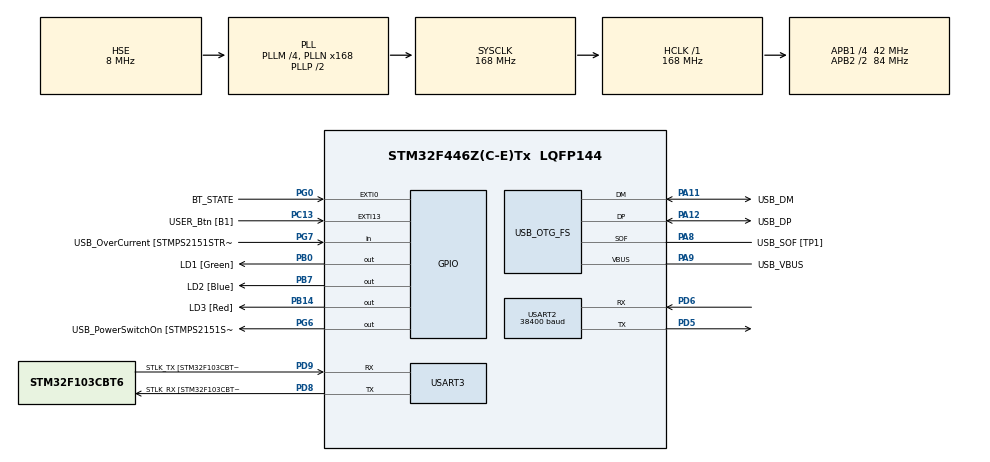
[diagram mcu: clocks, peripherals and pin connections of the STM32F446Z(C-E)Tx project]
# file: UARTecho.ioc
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Dma.Request0=USART3_TX
Dma.Request1=USART2_RX
Dma.Request2=USART2_TX
Dma.USART2_RX.1.Direction=DMA_PERIPH_TO_MEMORY
Dma.USART2_RX.1.FIFOMode=DMA_FIFOMODE_DISABLE
Dma.USART2_RX.1.Instance=DMA1_Stream5
Dma.USART2_RX.1.MemDataAlignment=DMA_MDATAALIGN_BYTE
Dma.USART2_RX.1.MemInc=DMA_MINC_ENABLE
Dma.USART2_RX.1.Mode=DMA_NORMAL
Dma.USART2_RX.1.PeriphDataAlignment=DMA_PDATAALIGN_BYTE
Dma.USART2_RX.1.PeriphInc=DMA_PINC_DISABLE
Dma.USART2_RX.1.Priority=DMA_PRIORITY_VERY_HIGH
Dma.USART2_TX.2.Direction=DMA_MEMORY_TO_PERIPH
Dma.USART2_TX.2.FIFOMode=DMA_FIFOMODE_DISABLE
Dma.USART2_TX.2.Instance=DMA1_Stream6
Dma.USART2_TX.2.MemDataAlignment=DMA_MDATAALIGN_BYTE
Dma.USART2_TX.2.MemInc=DMA_MINC_ENABLE
Dma.USART2_TX.2.Mode=DMA_NORMAL
Dma.USART2_TX.2.PeriphDataAlignment=DMA_PDATAALIGN_BYTE
Dma.USART2_TX.2.PeriphInc=DMA_PINC_DISABLE
Dma.USART2_TX.2.Priority=DMA_PRIORITY_HIGH
Dma.USART3_TX.0.Direction=DMA_MEMORY_TO_PERIPH
Dma.USART3_TX.0.FIFOMode=DMA_FIFOMODE_DISABLE
Dma.USART3_TX.0.Instance=DMA1_Stream3
Dma.USART3_TX.0.MemDataAlignment=DMA_MDATAALIGN_BYTE
Dma.USART3_TX.0.MemInc=DMA_MINC_ENABLE
Dma.USART3_TX.0.Mode=DMA_NORMAL
Dma.USART3_TX.0.PeriphDataAlignment=DMA_PDATAALIGN_BYTE
Dma.USART3_TX.0.PeriphInc=DMA_PINC_DISABLE
Dma.USART3_TX.0.Priority=DMA_PRIORITY_VERY_HIGH
Mcu.Family=STM32F4
Mcu.Name=STM32F446Z(C-E)Tx
Mcu.Package=LQFP144
NVIC.DMA1_Stream3_IRQn=true\:0\:0\:false\:false\:true\:false\:true\:true
NVIC.DMA1_Stream5_IRQn=true\:0\:0\:false\:false\:true\:false\:true\:true
NVIC.DMA1_Stream6_IRQn=true\:0\:0\:false\:false\:true\:false\:true\:true
NVIC.EXTI0_IRQn=true\:0\:0\:false\:false\:true\:true\:true\:true
NVIC.PriorityGroup=NVIC_PRIORITYGROUP_4
NVIC.USART2_IRQn=true\:0\:0\:false\:false\:true\:true\:true\:true
NVIC.USART3_IRQn=true\:0\:0\:false\:false\:true\:true\:true\:true
PA10.GPIO_Label=USB_ID
PA10.Signal=USB_OTG_FS_ID
PA11.GPIO_Label=USB_DM
PA11.Mode=Device_Only
PA11.Signal=USB_OTG_FS_DM
PA12.GPIO_Label=USB_DP
PA12.Mode=Device_Only
PA12.Signal=USB_OTG_FS_DP
PA13.GPIO_Label=TMS
PA13.Mode=Serial_Wire
PA13.Signal=SYS_JTMS-SWDIO
PA14.GPIO_Label=TCK
PA14.Mode=Serial_Wire
PA14.Signal=SYS_JTCK-SWCLK
PA8.GPIO_Label=USB_SOF [TP1]
PA8.Mode=Activate_SOF_FS
PA8.Signal=USB_OTG_FS_SOF
PA9.GPIO_Label=USB_VBUS
PA9.Mode=Activate_VBUS
PA9.Signal=USB_OTG_FS_VBUS
PB0.GPIO_Label=LD1 [Green]
PB0.Signal=GPIO_Output
PB14.GPIO_Label=LD3 [Red]
PB14.Signal=GPIO_Output
PB7.GPIO_Label=LD2 [Blue]
PB7.Signal=GPIO_Output
PC13.GPIO_Label=USER_Btn [B1]
PC13.Signal=GPXTI13
PC14-OSC32_IN.Mode=LSE-External-Oscillator
PC14-OSC32_IN.Signal=RCC_OSC32_IN
PC15-OSC32_OUT.Mode=LSE-External-Oscillator
PC15-OSC32_OUT.Signal=RCC_OSC32_OUT
PD5.Mode=Asynchronous
PD5.Signal=USART2_TX
PD6.Mode=Asynchronous
PD6.Signal=USART2_RX
PD8.GPIO_Label=STLK_RX [STM32F103CBT6_PA3]
PD8.Mode=Asynchronous
PD8.Signal=USART3_TX
PD9.GPIO_Label=STLK_TX [STM32F103CBT6_PA2]
PD9.Mode=Asynchronous
PD9.Signal=USART3_RX
PG0.GPIO_Label=BT_STATE
PG0.GPIO_ModeDefaultEXTI=GPIO_MODE_IT_FALLING
PG0.Signal=GPXTI0
PG6.GPIO_Label=USB_PowerSwitchOn [STMPS2151STR_EN]
PG6.Signal=GPIO_Output
PG7.GPIO_Label=USB_OverCurrent [STMPS2151STR_FAULT]
PG7.Signal=GPIO_Input
PH0-OSC_IN.GPIO_Label=MCO [STM32F103CBT6_PA8]
PH0-OSC_IN.Mode=HSE-External-Clock-Source
PH0-OSC_IN.Signal=RCC_OSC_IN
PH1-OSC_OUT.Mode=HSE-External-Clock-Source
PH1-OSC_OUT.Signal=RCC_OSC_OUT
ProjectManager.HeapSize=0x200
ProjectManager.StackSize=0x400
ProjectManager.TargetToolchain=STM32CubeIDE
RCC.48MHZClocksFreq_Value=24000000
RCC.AHBFreq_Value=168000000
RCC.APB1CLKDivider=RCC_HCLK_DIV4
RCC.APB1Freq_Value=42000000
RCC.APB1TimFreq_Value=84000000
RCC.APB2CLKDivider=RCC_HCLK_DIV2
RCC.APB2Freq_Value=84000000
RCC.APB2TimFreq_Value=168000000
RCC.CortexFreq_Value=168000000
RCC.HCLKFreq_Value=168000000
RCC.HSE_VALUE=8000000
RCC.HSI_VALUE=16000000
RCC.PLLM=4
RCC.PLLMUL=RCC_PLL_MUL9
RCC.PLLN=168
RCC.PLLQ=7
RCC.PRESCALERUSB=RCC_USBCLKSOURCE_PLL_DIV1_5
RCC.SYSCLKFreq_VALUE=168000000
RCC.SYSCLKSource=RCC_SYSCLKSOURCE_PLLCLK
RCC.SYSCLKSourceVirtual=RCC_SYSCLKSOURCE_PLLCLK
RCC.USBFreq_Value=48000000
RCC.VCOOutputFreq_Value=336000000
USART2.BaudRate=38400
USART2.VirtualMode=VM_ASYNC
USART3.VirtualMode=VM_ASYNC
USB_OTG_FS.VirtualMode=Device_Only
board=NUCLEO-F446ZE

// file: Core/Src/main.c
/* USER CODE BEGIN Header */
/**
  ******************************************************************************
  * @file           : main.c
  * @brief          : Main program body
  ******************************************************************************
  * @attention
  *
  * Copyright (c) 2024 STMicroelectronics.
  * All rights reserved.
  *
  * This software is licensed under terms that can be found in the LICENSE file
  * in the root directory of this software component.
  * If no LICENSE file comes with this software, it is provided AS-IS.
  *
  ******************************************************************************
  */
/* USER CODE END Header */
#include "main.h"

/* USER CODE BEGIN Includes */
#include "string.h"
#include "stdlib.h"
#include "hc-05.h"
/* USER CODE END Includes */

/* USER CODE BEGIN PD */
#define DATA_SIZE 144*174 + 100
/* USER CODE END PD */

UART_HandleTypeDef huart2;
UART_HandleTypeDef huart3;
DMA_HandleTypeDef hdma_usart2_rx;
DMA_HandleTypeDef hdma_usart2_tx;
DMA_HandleTypeDef hdma_usart3_tx;

PCD_HandleTypeDef hpcd_USB_OTG_FS;

/* USER CODE BEGIN PV */
uint8_t buffer[DATA_SIZE];
/* USER CODE END PV */

void SystemClock_Config(void);
static void MX_GPIO_Init(void);
static void MX_DMA_Init(void);
static void MX_USART3_UART_Init(void);
static void MX_USB_OTG_FS_PCD_Init(void);
static void MX_USART2_UART_Init(void);

int main(void)
{

  /* MCU Configuration--------------------------------------------------------*/

  /* Reset of all peripherals, Initializes the Flash interface and the Systick. */
  HAL_Init();

  /* Configure the system clock */
  SystemClock_Config();

  /* Initialize all configured peripherals */
  MX_GPIO_Init();
  MX_DMA_Init();
  MX_USART3_UART_Init();
  MX_USB_OTG_FS_PCD_Init();
  MX_USART2_UART_Init();
  /* USER CODE BEGIN 2 */
  hc05Init(&huart2, &huart3);
  uint16_t size;
  uint16_t* sizeReceived = &size;
  //Establish BT connection
  while(!checkConnection()) {
	  HAL_Delay(0);
  }
  /* USER CODE END 2 */

  /* Infinite loop */
  /* USER CODE BEGIN WHILE */
  while (1)
  {
	  receiveData(buffer, sizeReceived);

	  exportingData = true;
	  HAL_UART_Transmit_DMA(&huart3, buffer, *sizeReceived);
	  while(exportingData) {
		  HAL_Delay(0);
	  }

	  memset(buffer, 0, DATA_SIZE);
	  requestNextFrame();
    /* USER CODE END WHILE */

  }
}

void SystemClock_Config(void)
{
  RCC_OscInitTypeDef RCC_OscInitStruct = {0};
  RCC_ClkInitTypeDef RCC_ClkInitStruct = {0};

  /** Configure the main internal regulator output voltage
  */
  __HAL_RCC_PWR_CLK_ENABLE();
  __HAL_PWR_VOLTAGESCALING_CONFIG(PWR_REGULATOR_VOLTAGE_SCALE1);

  /** Initializes the RCC Oscillators according to the specified parameters
  * in the RCC_OscInitTypeDef structure.
  */
  RCC_OscInitStruct.OscillatorType = RCC_OSCILLATORTYPE_HSE;
  RCC_OscInitStruct.HSEState = RCC_HSE_BYPASS;
  RCC_OscInitStruct.PLL.PLLState = RCC_PLL_ON;
  RCC_OscInitStruct.PLL.PLLSource = RCC_PLLSOURCE_HSE;
  RCC_OscInitStruct.PLL.PLLM = 4;
  RCC_OscInitStruct.PLL.PLLN = 168;
  RCC_OscInitStruct.PLL.PLLP = RCC_PLLP_DIV2;
  RCC_OscInitStruct.PLL.PLLQ = 7;
  RCC_OscInitStruct.PLL.PLLR = 2;
  if (HAL_RCC_OscConfig(&RCC_OscInitStruct) != HAL_OK)
  {
    Error_Handler();
  }

  /** Initializes the CPU, AHB and APB buses clocks
  */
  RCC_ClkInitStruct.ClockType = RCC_CLOCKTYPE_HCLK|RCC_CLOCKTYPE_SYSCLK
                              |RCC_CLOCKTYPE_PCLK1|RCC_CLOCKTYPE_PCLK2;
  RCC_ClkInitStruct.SYSCLKSource = RCC_SYSCLKSOURCE_PLLCLK;
  RCC_ClkInitStruct.AHBCLKDivider = RCC_SYSCLK_DIV1;
  RCC_ClkInitStruct.APB1CLKDivider = RCC_HCLK_DIV4;
  RCC_ClkInitStruct.APB2CLKDivider = RCC_HCLK_DIV2;

  if (HAL_RCC_ClockConfig(&RCC_ClkInitStruct, FLASH_LATENCY_5) != HAL_OK)
  {
    Error_Handler();
  }
}

static void MX_USART2_UART_Init(void)
{

  huart2.Instance = USART2;
  huart2.Init.BaudRate = 38400;
  huart2.Init.WordLength = UART_WORDLENGTH_8B;
  huart2.Init.StopBits = UART_STOPBITS_1;
  huart2.Init.Parity = UART_PARITY_NONE;
  huart2.Init.Mode = UART_MODE_TX_RX;
  huart2.Init.HwFlowCtl = UART_HWCONTROL_NONE;
  huart2.Init.OverSampling = UART_OVERSAMPLING_16;
  if (HAL_UART_Init(&huart2) != HAL_OK)
  {
    Error_Handler();
  }

}

static void MX_USART3_UART_Init(void)
{

  huart3.Instance = USART3;
  huart3.Init.BaudRate = 115200;
  huart3.Init.WordLength = UART_WORDLENGTH_8B;
  huart3.Init.StopBits = UART_STOPBITS_1;
  huart3.Init.Parity = UART_PARITY_NONE;
  huart3.Init.Mode = UART_MODE_TX_RX;
  huart3.Init.HwFlowCtl = UART_HWCONTROL_NONE;
  huart3.Init.OverSampling = UART_OVERSAMPLING_16;
  if (HAL_UART_Init(&huart3) != HAL_OK)
  {
    Error_Handler();
  }

}

static void MX_USB_OTG_FS_PCD_Init(void)
{

  hpcd_USB_OTG_FS.Instance = USB_OTG_FS;
  hpcd_USB_OTG_FS.Init.dev_endpoints = 6;
  hpcd_USB_OTG_FS.Init.speed = PCD_SPEED_FULL;
  hpcd_USB_OTG_FS.Init.dma_enable = DISABLE;
  hpcd_USB_OTG_FS.Init.phy_itface = PCD_PHY_EMBEDDED;
  hpcd_USB_OTG_FS.Init.Sof_enable = ENABLE;
  hpcd_USB_OTG_FS.Init.low_power_enable = DISABLE;
  hpcd_USB_OTG_FS.Init.lpm_enable = DISABLE;
  hpcd_USB_OTG_FS.Init.vbus_sensing_enable = ENABLE;
  hpcd_USB_OTG_FS.Init.use_dedicated_ep1 = DISABLE;
  if (HAL_PCD_Init(&hpcd_USB_OTG_FS) != HAL_OK)
  {
    Error_Handler();
  }

}

static void MX_DMA_Init(void)
{

  /* DMA controller clock enable */
  __HAL_RCC_DMA1_CLK_ENABLE();

  /* DMA interrupt init */
  /* DMA1_Stream3_IRQn interrupt configuration */
  HAL_NVIC_SetPriority(DMA1_Stream3_IRQn, 0, 0);
  HAL_NVIC_EnableIRQ(DMA1_Stream3_IRQn);
  /* DMA1_Stream5_IRQn interrupt configuration */
  HAL_NVIC_SetPriority(DMA1_Stream5_IRQn, 0, 0);
  HAL_NVIC_EnableIRQ(DMA1_Stream5_IRQn);
  /* DMA1_Stream6_IRQn interrupt configuration */
  HAL_NVIC_SetPriority(DMA1_Stream6_IRQn, 0, 0);
  HAL_NVIC_EnableIRQ(DMA1_Stream6_IRQn);

}

static void MX_GPIO_Init(void)
{
  GPIO_InitTypeDef GPIO_InitStruct = {0};

  /* GPIO Ports Clock Enable */
  __HAL_RCC_GPIOC_CLK_ENABLE();
  __HAL_RCC_GPIOH_CLK_ENABLE();
  __HAL_RCC_GPIOB_CLK_ENABLE();
  __HAL_RCC_GPIOG_CLK_ENABLE();
  __HAL_RCC_GPIOD_CLK_ENABLE();
  __HAL_RCC_GPIOA_CLK_ENABLE();

  /*Configure GPIO pin Output Level */
  HAL_GPIO_WritePin(GPIOB, LD1_Pin|LD3_Pin|LD2_Pin, GPIO_PIN_RESET);

  /*Configure GPIO pin Output Level */
  HAL_GPIO_WritePin(USB_PowerSwitchOn_GPIO_Port, USB_PowerSwitchOn_Pin, GPIO_PIN_RESET);

  /*Configure GPIO pin : USER_Btn_Pin */
  GPIO_InitStruct.Pin = USER_Btn_Pin;
  GPIO_InitStruct.Mode = GPIO_MODE_IT_RISING;
  GPIO_InitStruct.Pull = GPIO_NOPULL;
  HAL_GPIO_Init(USER_Btn_GPIO_Port, &GPIO_InitStruct);

  /*Configure GPIO pins : LD1_Pin LD3_Pin LD2_Pin */
  GPIO_InitStruct.Pin = LD1_Pin|LD3_Pin|LD2_Pin;
  GPIO_InitStruct.Mode = GPIO_MODE_OUTPUT_PP;
  GPIO_InitStruct.Pull = GPIO_NOPULL;
  GPIO_InitStruct.Speed = GPIO_SPEED_FREQ_LOW;
  HAL_GPIO_Init(GPIOB, &GPIO_InitStruct);

  /*Configure GPIO pin : BT_STATE_Pin */
  GPIO_InitStruct.Pin = BT_STATE_Pin;
  GPIO_InitStruct.Mode = GPIO_MODE_IT_FALLING;
  GPIO_InitStruct.Pull = GPIO_NOPULL;
  HAL_GPIO_Init(BT_STATE_GPIO_Port, &GPIO_InitStruct);

  /*Configure GPIO pin : USB_PowerSwitchOn_Pin */
  GPIO_InitStruct.Pin = USB_PowerSwitchOn_Pin;
  GPIO_InitStruct.Mode = GPIO_MODE_OUTPUT_PP;
  GPIO_InitStruct.Pull = GPIO_NOPULL;
  GPIO_InitStruct.Speed = GPIO_SPEED_FREQ_LOW;
  HAL_GPIO_Init(USB_PowerSwitchOn_GPIO_Port, &GPIO_InitStruct);

  /*Configure GPIO pin : USB_OverCurrent_Pin */
  GPIO_InitStruct.Pin = USB_OverCurrent_Pin;
  GPIO_InitStruct.Mode = GPIO_MODE_INPUT;
  GPIO_InitStruct.Pull = GPIO_NOPULL;
  HAL_GPIO_Init(USB_OverCurrent_GPIO_Port, &GPIO_InitStruct);

  /* EXTI interrupt init*/
  HAL_NVIC_SetPriority(EXTI0_IRQn, 0, 0);
  HAL_NVIC_EnableIRQ(EXTI0_IRQn);

}

void Error_Handler(void)
{
  __disable_irq();
  while (1)
  {
  }
}
